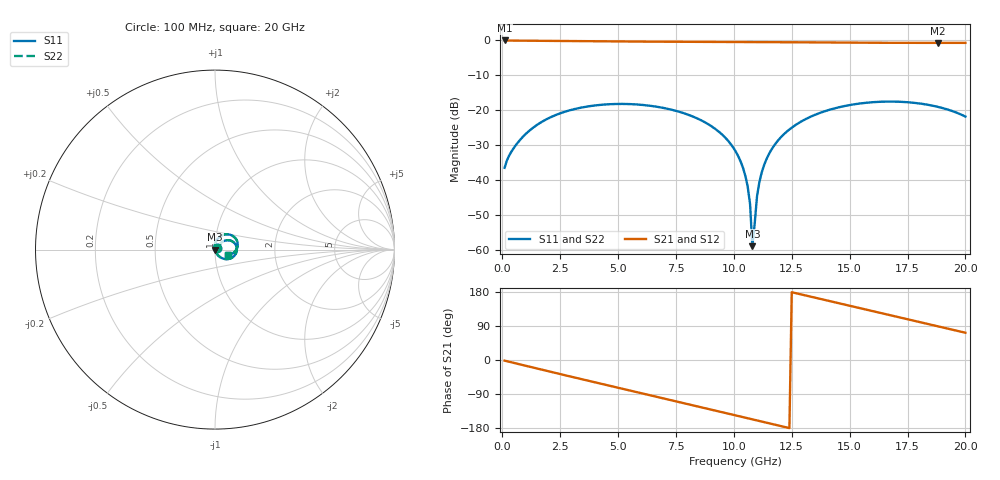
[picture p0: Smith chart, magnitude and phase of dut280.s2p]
! Touchstone file exported from HFSS 2026.1.0
!  File:  C:/ffzhzh/LocalFiles/Ansys_Project_Files/temp_train_TSV_RDL_280_1783085649_20200.aedt
!  Generated:  09:45:54 PM Jul  3, 2026
!  Design:  TSV_RDL
!  Project:  temp_train_TSV_RDL_280_1783085649_20200
! Variables:
!  h_bsmrdl = 4.82um
!  h_ox = 20um
!  h_rdl = 5um
!  h_sub = 71.74um
!  h_tmrdl = 5.03um
!  h_tsv = 71.74um
!  h_via = 3um
!  l_bsmrdl = 196.24um
!  l_sub = 5014.7um
!  l_tmrdl = 963.61um
!  m_sub = 200um
!  pitch = 36.93um
!  r_tsv = 11.45um
!  s_tmrdl = 10um
!  w_bsmrdl = 29.4um
!  w_sub = 500um
!  w_tmrdl = 27.78um
!  x_tsv_center1 = 977.5um
!  x_tsv_center2 = 1203.14um
!  x_tsv_center3 = 2194.53um
!  x_tsv_center4 = 2420.17um
!  x_tsv_center5 = 3411.56um
!  x_tsv_center6 = 3637.2um
# GHz S MA R 50.000000
! Terminal data exported
! Port[1] = TM_RDL1_1_T1
! Port[2] = TM_RDL5_1_T1
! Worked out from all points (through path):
!   200 points, 100 MHz to 20 GHz, reference 50 ohm
!   highest |S21| = -0.12 dB at 100 MHz (marker M1); lowest = -0.8 dB at 18.8 GHz (marker M2)
!   group delay of S21, straight-line fit = 39.9 ps
!   lowest |S11| = -59.0 dB at 10.8 GHz (marker M3), VSWR 1.00, Z = 50.1 - j0.0996 ohm
!   |S11| at or under -10 dB: start of sweep to end of sweep
!   |S22| runs from -58.7 to -17.6 dB; largest |S21 - S12| = 1.7e-14
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0.1  0.01487 24.5  0.9866 -1.7  0.9866 -1.7  0.01487 24.5
! Gamma 0 0 0 0
! Port Impedance 50 0 50 0
0.5  0.02864 43.3  0.9817 -7.7  0.9817 -7.7  0.02864 43.3
1.3  0.05474 47.5  0.977 -19.5  0.977 -19.5  0.05475 47.5
3.5  0.1094 23.1  0.9617 -51.7  0.9617 -51.7  0.1095 23.1
5.2  0.1219 0.2  0.9527 -76.1  0.9527 -76.1  0.1219 0.2
6.8  0.1093 -21.5  0.9479 -99.0  0.9479 -99.0  0.1093 -21.6
8.9  0.06234 -50.3  0.9437 -129.2  0.9437 -129.2  0.0624 -50.4
9.6  0.04105 -59.9  0.9419 -139.3  0.9419 -139.3  0.04111 -60.1
10.1  0.02476 -66.5  0.9405 -146.5  0.9405 -146.5  0.02482 -66.8
10.4  0.0147 -70.2  0.9395 -150.8  0.9395 -150.8  0.01476 -70.8
10.6  0.00792 -72.1  0.9388 -153.7  0.9388 -153.7  0.007976 -73.0
10.7  0.004514 -71.9  0.9384 -155.2  0.9384 -155.2  0.004567 -73.5
10.8  0.001124 -62.3  0.938 -156.6  0.938 -156.6  0.001158 -68.8
11  0.005768 97.5  0.9372 -159.5  0.9372 -159.5  0.005706 98.6
11.2  0.01261 96.3  0.9364 -162.4  0.9364 -162.4  0.01255 96.7
11.4  0.01944 93.9  0.9356 -165.3  0.9356 -165.3  0.01938 94.2
12.2  0.04615 83.3  0.9318 -176.8  0.9318 -176.8  0.04611 83.4
13.4  0.08229 66.9  0.9257 166.0  0.9257 166.0  0.08226 66.9
15  0.1174 45.1  0.9181 143.2  0.9181 143.2  0.1174 45.1
16.7  0.1317 22.2  0.9127 119.1  0.9127 119.1  0.1317 22.1
18.8  0.111 -5.9  0.911 89.2  0.911 89.2  0.111 -6.1
20  0.08042 -21.1  0.911 72.0  0.911 72.0  0.08049 -21.4
